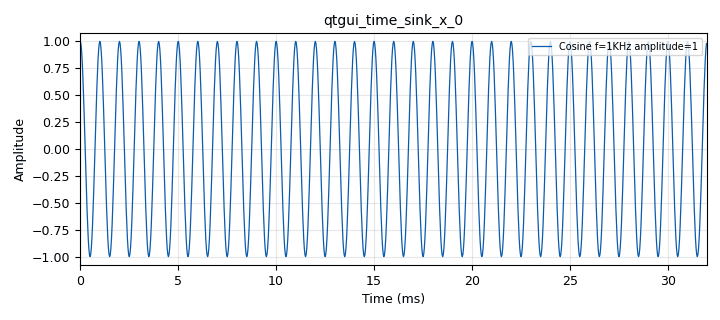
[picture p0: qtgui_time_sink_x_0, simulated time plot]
options:
  parameters:
    author: zoe
    generate_options: qt_gui
    id: lab0_1
    output_language: python
    title: Not titled yet
  states: {}

blocks:
- name: samp_rate
  id: variable
  parameters:
    value: '32000'
  states: {}
- name: analog_sig_source_x_0_0_1
  id: analog_sig_source_x
  parameters:
    amp: '1'
    freq: '1000'
    offset: '0'
    phase: '0'
    samp_rate: samp_rate
    type: float
    waveform: analog.GR_COS_WAVE
  states: {}
- name: blocks_throttle_0_1
  id: blocks_throttle
  parameters:
    samples_per_second: samp_rate
    type: float
  states: {}
- name: qtgui_time_sink_x_0
  id: qtgui_time_sink_x
  parameters:
    label1: Cosine f=1KHz amplitude=1
    size: '1024'
    srate: samp_rate
    type: float
  states: {}

connections:
- [analog_sig_source_x_0_0_1, '0', blocks_throttle_0_1, '0']
- [blocks_throttle_0_1, '0', qtgui_time_sink_x_0, '0']

metadata:
  file_format: 1
  grc_version: 3.10.5.1
